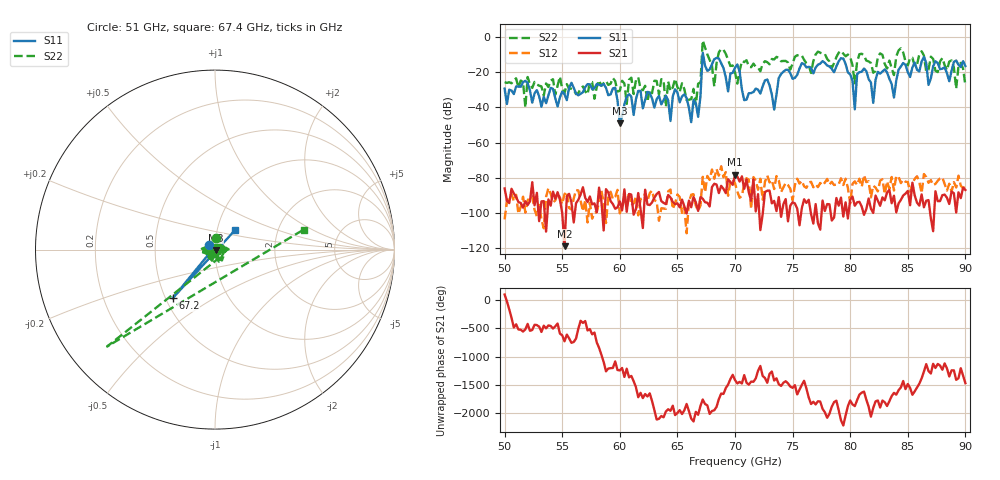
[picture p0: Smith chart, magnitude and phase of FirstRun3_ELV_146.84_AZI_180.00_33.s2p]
! 11/24/2026 3:41:35 PM
! C:\ANRITSUVNA\TEMP\TEMP.S2P
! CHANNEL.1
! TR.MEASUREMENT
! RAW.DATA
# HZ S RI R 50.0
! FREQ.HZ  S11RE  S11IM  S21RE  S21IM  S12RE  S12IM  S22RE  S22IM
!; PortSelection: Port_12
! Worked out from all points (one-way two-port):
!   201 points, 50 GHz to 90 GHz, reference 50 ohm
!   highest |S21| = -78.39 dB at 70 GHz (marker M1); lowest = -119.0 dB at 55.2 GHz (marker M2)
!   lowest |S11| = -49.0 dB at 60 GHz (marker M3), VSWR 1.01, Z = 50.3 - j0.16 ohm
!   |S11| at or under -10 dB: start of sweep to 67.19 GHz; 67.23 GHz to end of sweep
!   |S22| runs from -40.0 to -1.9 dB; largest |S21 - S12| = 0.00021
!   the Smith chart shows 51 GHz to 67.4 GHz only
!   S11 on the Smith chart (normalised r, x): 51 GHz: 0.94, +0.05; 67.2 GHz: 0.54, -0.34; 67.4 GHz: 1.22, +0.27
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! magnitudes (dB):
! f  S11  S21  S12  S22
! 50 GHz  -29.3  -86.1  -103.8  -25.6
! 51 GHz  -28.0  -91.0  -89.8  -23.4
! 55.2 GHz  -32.6  -119.0  -89.5  -31.9
! 56.8 GHz  -31.4  -85.5  -99.2  -28.1
! 59.6 GHz  -28.8  -97.7  -91.0  -25.0
! 60 GHz  -49.0  -93.5  -100.3  -30.5
! 63.4 GHz  -33.4  -88.2  -104.5  -32.6
! 66.8 GHz  -45.4  -98.9  -98.7  -26.5
! 67.2 GHz  -8.9  -92.0  -79.5  -1.9
! 67.4 GHz  -16.1  -94.0  -88.3  -5.9
! 68.2 GHz  -12.5  -83.5  -80.6  -28.0
! 68.8 GHz  -14.8  -84.6  -73.5  -6.7
! 70 GHz  -17.5  -78.4  -83.2  -19.9
! 73.4 GHz  -41.2  -93.2  -86.5  -12.6
! 74.2 GHz  -19.7  -95.1  -85.5  -13.5
! 76.8 GHz  -20.6  -106.2  -85.5  -13.6
! 79.4 GHz  -12.2  -102.2  -84.2  -9.4
! 80.4 GHz  -41.1  -96.0  -82.1  -26.2
! 80.6 GHz  -21.0  -94.0  -84.2  -14.0
! 82 GHz  -37.4  -100.1  -84.5  -20.2
! 83.4 GHz  -23.7  -87.0  -86.4  -13.3
! 90 GHz  -16.5  -87.1  -85.0  -27.3
